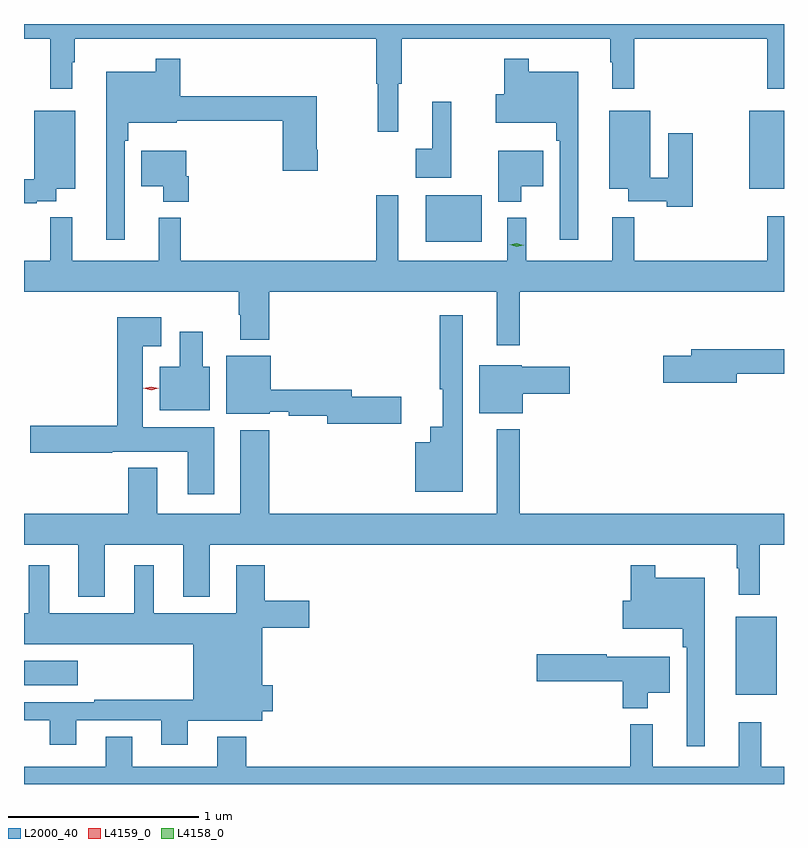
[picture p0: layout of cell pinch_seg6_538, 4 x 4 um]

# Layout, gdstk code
import gdstk
lib = gdstk.Library(unit=1e-6, precision=1e-09)
def R(c, l, rs):  # rectangles x0, y0, x1, y1
    for r in rs: c.add(gdstk.rectangle(r[:2], r[2:], *l))
def P(c, l, *ps):  # polygons
    for p in ps: c.add(gdstk.Polygon(p, *l))
L2000_40 = (2000, 40)
L4158_0 = (4158, 0)
L4159_0 = (4159, 0)

pinch_seg6_538 = lib.new_cell('pinch_seg6_538')
R(pinch_seg6_538, L2000_40, [(530.243,985.175,530.458,985.585), (526.496,985.226,526.78,985.354), (528.611,987.56,528.904,987.805), (530.312,987.839,530.496,988.249)])
P(pinch_seg6_538, L2000_40, [(528.467,988.392),(528.485,988.392),(528.485,988.628),(529.581,988.628),(529.581,988.505),(529.592,988.505),(529.592,988.365),(529.709,988.365),(529.709,988.628),(530.407,988.628),(530.407,988.365),(530.496,988.365),(530.496,988.706),(526.496,988.706),(526.496,988.628),(526.633,988.628),(526.633,988.365),(526.75,988.365),(526.75,988.505),(526.762,988.505),(526.762,988.628),(528.349,988.628),(528.349,988.392),(528.357,988.392),(528.357,988.14),(528.467,988.14)],
  [(529.414,988.456),(529.153,988.456),(529.153,988.522),(529.024,988.522),(529.024,988.335),(528.98,988.335),(528.98,988.187),(529.297,988.187),(529.297,988.091),(529.317,988.091),(529.317,987.57),(529.414,987.57)],
  [(527.025,988.091),(527.045,988.091),(527.045,988.187),(527.299,988.187),(527.299,988.198),(527.858,988.198),(527.858,987.933),(528.041,987.933),(528.041,988.045),(528.036,988.045),(528.036,988.327),(527.318,988.327),(527.318,988.522),(527.19,988.522),(527.19,988.456),(526.928,988.456),(526.928,987.57),(527.025,987.57)],
  [(528.744,988.297),(528.644,988.297),(528.644,988.049),(528.558,988.049),(528.558,987.896),(528.744,987.896)],
  [(530.016,988.132),(529.886,988.132),(529.886,987.896),(529.792,987.896),(529.792,988.249),(529.577,988.249),(529.577,987.839),(529.676,987.839),(529.676,987.773),(529.879,987.773),(529.879,987.743),(530.016,987.743)],
  [(526.562,987.774),(526.666,987.774),(526.666,987.839),(526.765,987.839),(526.765,988.249),(526.55,988.249),(526.55,987.89),(526.496,987.89),(526.496,987.762),(526.562,987.762)],
  [(529.114,987.851),(529.228,987.851),(529.228,988.039),(528.992,988.039),(528.992,987.77),(529.114,987.77)],
  [(527.363,987.906),(527.35,987.906),(527.35,988.039),(527.114,988.039),(527.114,987.851),(527.228,987.851),(527.228,987.77),(527.363,987.77)],
  [(529.105,987.296),(530.496,987.296),(530.496,987.694),(530.407,987.694),(530.407,987.46),(529.709,987.46),(529.709,987.688),(529.592,987.688),(529.592,987.46),(529.139,987.46),(529.139,987.685),(529.04,987.685),(529.04,987.46),(528.466,987.46),(528.466,987.805),(528.349,987.805),(528.349,987.46),(527.321,987.46),(527.321,987.685),(527.204,987.685),(527.204,987.46),(526.751,987.46),(526.751,987.689),(526.633,987.689),(526.633,987.46),(526.496,987.46),(526.496,987.296),(527.626,987.296),(527.626,987.176),(527.633,987.176),(527.633,987.044),(527.786,987.044),(527.786,987.296),(528.983,987.296),(528.983,987.015),(529.105,987.015)],
  [(528.805,987.172),(528.684,987.172),(528.684,986.783),(528.701,986.783),(528.701,986.587),(528.635,986.587),(528.635,986.506),(528.554,986.506),(528.554,986.243),(528.805,986.243)],
  [(527.497,986.584),(527.122,986.584),(527.122,987.011),(527.218,987.011),(527.218,987.163),(526.988,987.163),(526.988,986.591),(526.53,986.591),(526.53,986.449),(526.961,986.449),(526.961,986.456),(527.357,986.456),(527.357,986.232),(527.497,986.232)],
  [(527.473,986.902),(527.437,986.902),(527.437,987.085),(527.315,987.085),(527.315,986.902),(527.21,986.902),(527.21,986.672),(527.473,986.672)],
  [(530.248,986.866),(530.496,986.866),(530.496,986.995),(530.009,986.995),(530.009,986.961),(529.86,986.961),(529.86,986.819),(530.248,986.819)],
  [(528.481,986.744),(528.22,986.744),(528.22,986.78),(527.794,986.78),(527.794,986.959),(527.561,986.959),(527.561,986.654),(527.79,986.654),(527.79,986.664),(527.89,986.664),(527.89,986.644),(528.092,986.644),(528.092,986.602),(528.481,986.602)],
  [(529.12,986.759),(529.369,986.759),(529.369,986.901),(529.116,986.901),(529.116,986.911),(528.893,986.911),(528.893,986.657),(529.12,986.657)],
  [(526.921,985.964),(527.333,985.964),(527.333,985.691),(527.473,985.691),(527.473,985.964),(530.247,985.964),(530.247,985.841),(530.258,985.841),(530.258,985.701),(530.368,985.701),(530.368,985.964),(530.496,985.964),(530.496,986.128),(529.105,986.128),(529.105,986.572),(528.983,986.572),(528.983,986.128),(527.786,986.128),(527.786,986.569),(527.633,986.569),(527.633,986.128),(527.197,986.128),(527.197,986.371),(527.045,986.371),(527.045,986.128),(526.496,986.128),(526.496,985.964),(526.781,985.964),(526.781,985.691),(526.921,985.691)],
  [(530.08,985.792),(529.819,985.792),(529.819,985.858),(529.69,985.858),(529.69,985.671),(529.646,985.671),(529.646,985.523),(529.963,985.523),(529.963,985.427),(529.983,985.427),(529.983,984.906),(530.08,984.906)],
  [(526.771,985.041),(527.219,985.041),(527.219,984.912),(527.359,984.912),(527.359,985.04),(527.749,985.04),(527.749,985.09),(527.806,985.09),(527.806,985.227),(527.749,985.227),(527.749,985.529),(527.998,985.529),(527.998,985.671),(527.762,985.671),(527.762,985.858),(527.612,985.858),(527.612,985.606),(527.179,985.606),(527.179,985.858),(527.075,985.858),(527.075,985.606),(526.63,985.606),(526.63,985.858),(526.52,985.858),(526.52,985.606),(526.496,985.606),(526.496,985.442),(527.387,985.442),(527.387,985.15),(526.867,985.15),(526.867,985.137),(526.496,985.137),(526.496,985.041),(526.631,985.041),(526.631,984.912),(526.771,984.912)],
  [(529.78,985.187),(529.894,985.187),(529.894,985.375),(529.562,985.375),(529.562,985.388),(529.194,985.388),(529.194,985.246),(529.646,985.246),(529.646,985.106),(529.78,985.106)],
  [(530.496,984.796),(530.375,984.796),(530.375,985.03),(530.258,985.03),(530.258,984.796),(529.805,984.796),(529.805,985.021),(529.687,985.021),(529.687,984.796),(527.666,984.796),(527.666,984.955),(527.513,984.955),(527.513,984.796),(527.065,984.796),(527.065,984.956),(526.925,984.956),(526.925,984.796),(526.496,984.796),(526.496,984.706),(530.496,984.706)])
P(pinch_seg6_538, L4158_0, [(529.089,987.533),(529.053,987.543),(529.053,987.543),(529.053,987.543),(529.089,987.553),(529.124,987.542),(529.125,987.542),(529.124,987.542)])
P(pinch_seg6_538, L4159_0, [(527.165,986.778),(527.124,986.788),(527.124,986.788),(527.124,986.788),(527.165,986.798),(527.206,986.788),(527.206,986.788),(527.206,986.788)])

lib.write_gds('pinch_seg6_538.gds')
